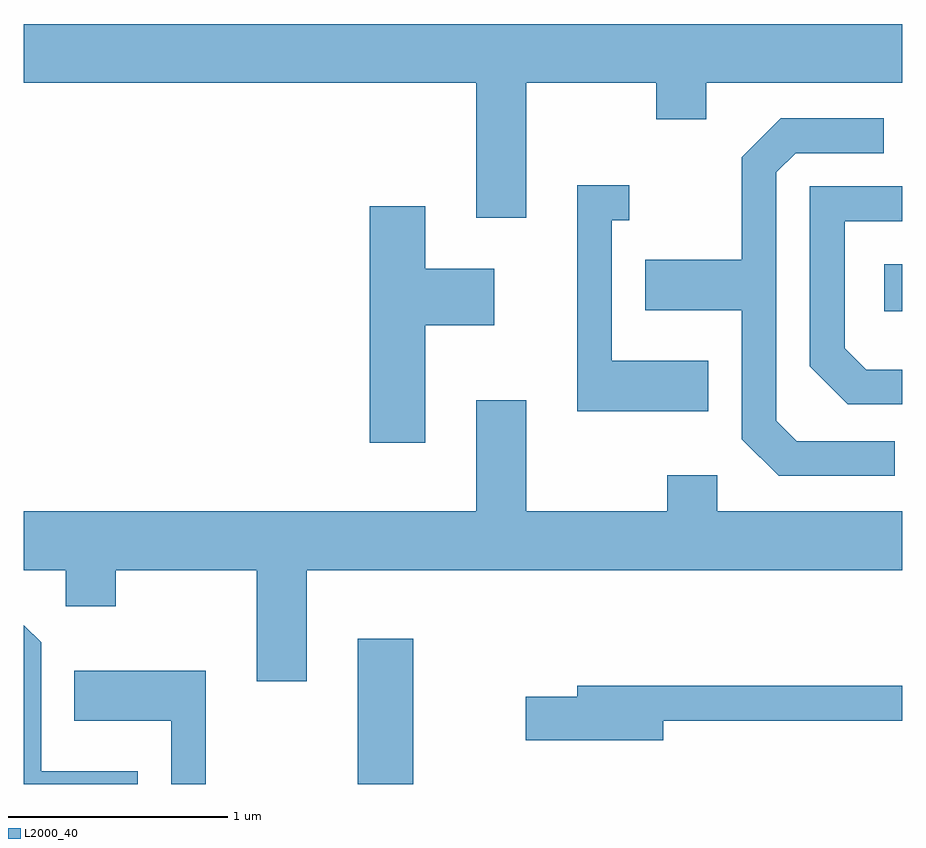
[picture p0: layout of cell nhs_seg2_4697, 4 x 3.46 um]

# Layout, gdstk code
import gdstk
lib = gdstk.Library(unit=1e-6, precision=1e-09)
def R(c, l, rs):  # rectangles x0, y0, x1, y1
    for r in rs: c.add(gdstk.rectangle(r[:2], r[2:], *l))
def P(c, l, *ps):  # polygons
    for p in ps: c.add(gdstk.Polygon(p, *l))
L2000_40 = (2000, 40)

nhs_seg2_4697 = lib.new_cell('nhs_seg2_4697')
R(nhs_seg2_4697, L2000_40, [(325.131,1031.802,325.384,1032.464), (327.531,1033.956,327.611,1034.169)])
P(nhs_seg2_4697, L2000_40, [(325.899,1034.996),(326.491,1034.996),(326.491,1034.831),(326.719,1034.831),(326.719,1034.996),(327.611,1034.996),(327.611,1035.264),(323.611,1035.264),(323.611,1034.996),(325.671,1034.996),(325.671,1034.381),(325.899,1034.381)],
  [(327.578,1033.364),(327.132,1033.364),(327.039,1033.457),(327.039,1034.589),(327.127,1034.676),(327.528,1034.676),(327.528,1034.834),(327.059,1034.834),(326.881,1034.657),(326.881,1034.189),(326.441,1034.189),(326.441,1033.961),(326.881,1033.961),(326.881,1033.373),(327.049,1033.206),(327.578,1033.206)],
  [(326.729,1033.729),(326.289,1033.729),(326.289,1034.371),(326.368,1034.371),(326.368,1034.529),(326.131,1034.529),(326.131,1033.501),(326.729,1033.501)],
  [(327.611,1033.689),(327.447,1033.689),(327.349,1033.786),(327.349,1034.366),(327.611,1034.366),(327.611,1034.524),(327.191,1034.524),(327.191,1033.704),(327.364,1033.531),(327.611,1033.531)],
  [(325.439,1033.891),(325.754,1033.891),(325.754,1034.149),(325.439,1034.149),(325.439,1034.434),(325.186,1034.434),(325.186,1033.356),(325.439,1033.356)],
  [(324.899,1032.776),(327.611,1032.776),(327.611,1033.044),(326.769,1033.044),(326.769,1033.209),(326.541,1033.209),(326.541,1033.044),(325.899,1033.044),(325.899,1033.549),(325.671,1033.549),(325.671,1033.044),(323.611,1033.044),(323.611,1032.776),(323.801,1032.776),(323.801,1032.611),(324.029,1032.611),(324.029,1032.776),(324.671,1032.776),(324.671,1032.271),(324.899,1032.271)],
  [(324.129,1031.859),(323.689,1031.859),(323.689,1032.447),(323.611,1032.525),(323.611,1031.802),(324.129,1031.802)],
  [(324.439,1032.319),(323.841,1032.319),(323.841,1032.091),(324.281,1032.091),(324.281,1031.802),(324.439,1031.802)],
  [(326.524,1032.091),(327.611,1032.091),(327.611,1032.249),(326.131,1032.249),(326.131,1032.199),(325.896,1032.199),(325.896,1032.001),(326.524,1032.001)])

lib.write_gds('nhs_seg2_4697.gds')
